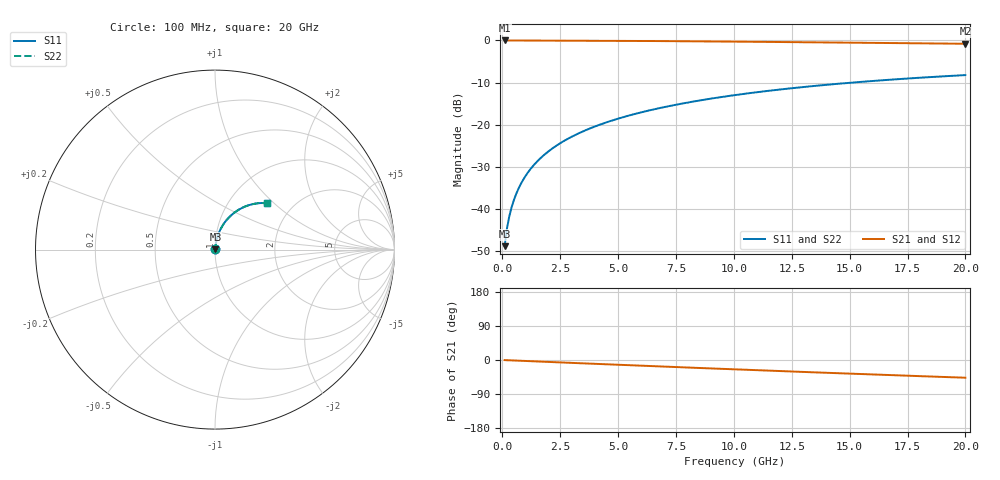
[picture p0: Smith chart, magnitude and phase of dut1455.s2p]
! Touchstone file exported from HFSS 2026.1.0
!  File:  C:/ffzhzh/LocalFiles/Ansys_Project_Files/temp_train_BSMRDL_1455_1783180796_51560.aedt
!  Generated:  12:01:18 AM Jul  5, 2026
!  Design:  BSMRDL
!  Project:  temp_train_BSMRDL_1455_1783180796_51560
! Variables:
!  h_bsmrdl = 4.06um
!  h_ox = 20um
!  h_rdl = 5um
!  h_sub = 80um
!  h_tmrdl = 5um
!  h_tsv = 80um
!  h_via = 3um
!  l_bsmrdl = 704.88um
!  l_sub = 1104.88um
!  l_tmrdl = 200um
!  m_sub = 200um
!  pitch = 55.23um
!  r_tsv = 6um
!  s_tmrdl = 10um
!  w_bsmrdl = 27.63um
!  w_sub = 500um
!  w_tmrdl = 12um
!  x_tsv_center1 = 206um
!  x_tsv_center2 = 938.51um
!  x_tsv_center3 = 1150.51um
!  x_tsv_center4 = 1883.02um
!  x_tsv_center5 = 2095.02um
!  x_tsv_center6 = 2827.53um
# GHz S MA R 50.000000
! Terminal data exported
! Port[1] = BSM_RDL1_1_T1
! Port[2] = BSM_RDL1_1_T2
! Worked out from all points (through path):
!   200 points, 100 MHz to 20 GHz, reference 50 ohm
!   highest |S21| = -0.02 dB at 100 MHz (marker M1); lowest = -0.8 dB at 20 GHz (marker M2)
!   group delay of S21, straight-line fit = 6.49 ps
!   lowest |S11| = -48.8 dB at 100 MHz (marker M3), VSWR 1.01, Z = 50.2 + j0.269 ohm
!   |S11| at or under -10 dB: start of sweep to 15.11 GHz
!   |S22| runs from -48.8 to -8.2 dB; largest |S21 - S12| = 4e-15
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0.1  0.003649 47.3  0.9975 -0.3  0.9975 -0.3  0.003649 47.3
! Gamma 0 0 0 0
! Port Impedance 50 0 50 0
0.2  0.005871 62.6  0.9973 -0.5  0.9973 -0.5  0.005871 62.6
0.3  0.008173 69.1  0.9972 -0.8  0.9972 -0.8  0.008173 69.1
0.4  0.01049 72.8  0.997 -1.0  0.997 -1.0  0.01049 72.8
0.5  0.01282 75.2  0.9969 -1.3  0.9969 -1.3  0.01282 75.2
0.6  0.01517 76.8  0.9968 -1.5  0.9968 -1.5  0.01517 76.8
0.8  0.01991 78.9  0.9967 -2.1  0.9967 -2.1  0.01991 78.9
1.1  0.02707 80.3  0.9964 -2.8  0.9964 -2.8  0.02707 80.3
1.5  0.03665 80.8  0.9959 -3.8  0.9959 -3.8  0.03665 80.8
1.8  0.04382 80.8  0.9955 -4.6  0.9955 -4.6  0.04382 80.8
2.1  0.05097 80.5  0.995 -5.3  0.995 -5.3  0.05097 80.5
2.7  0.06519 79.6  0.9938 -6.8  0.9938 -6.8  0.06519 79.6
3.5  0.08391 78.0  0.9919 -8.9  0.9919 -8.9  0.08391 78.0
4.2  0.1001 76.5  0.99 -10.6  0.99 -10.6  0.1 76.5
5  0.1182 74.7  0.9874 -12.6  0.9874 -12.6  0.1182 74.7
5.9  0.1382 72.7  0.9843 -14.8  0.9843 -14.8  0.1382 72.7
6.8  0.1578 70.6  0.9808 -17.0  0.9808 -17.0  0.1578 70.6
8.3  0.1895 67.2  0.9744 -20.6  0.9744 -20.6  0.1895 67.2
10.1  0.2258 63.1  0.9659 -24.8  0.9659 -24.8  0.2258 63.1
13.4  0.2872 55.8  0.9487 -32.4  0.9487 -32.4  0.2872 55.8
16.7  0.3413 48.7  0.9301 -39.7  0.9301 -39.7  0.3413 48.7
20  0.3878 41.8  0.9115 -46.7  0.9115 -46.7  0.3877 41.8
